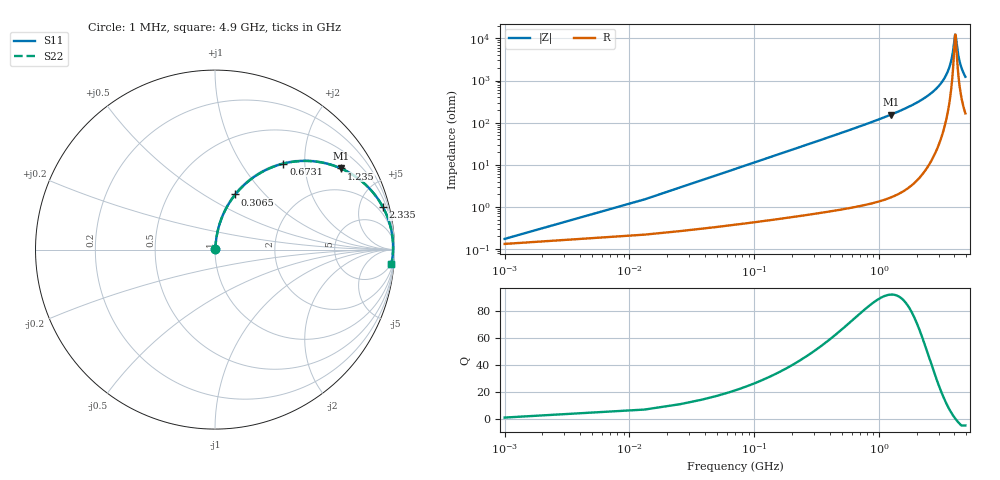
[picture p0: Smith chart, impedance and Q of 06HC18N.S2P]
! Coilcraft 0603HC-18N Chip Inductor
! 03 June 2002
# MHZ S MA R 50
!Freq  MagS11  AngS11  MagS21  AngS21  MagS12  AngS12  MagS22  AngS22
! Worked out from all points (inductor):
!   402 points, 1 MHz to 4.9 GHz, reference 50 ohm
!   read as one part in series: L = 18 nH near 25.44 MHz
!   highest Q = 92.2 at 1.235 GHz (marker M1), where L = 19.8 nH
!   self-resonance near 4.07 GHz
!   S11 on the Smith chart (normalised r, x): 1 MHz: 1.00, +0.00; 306.5 MHz: 1.01, +0.70; 673.1 MHz: 1.02, +1.57; 1.235 GHz: 1.03, +3.08; 2.335 GHz: 1.15, +7.87; 4.9 GHz: 4, -24
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1  0.001737 40.5  0.9987 -0.1  0.9987 -0.1  0.001737 40.5
37.66  0.04254 83.5  0.9961 -2.4  0.9961 -2.4  0.04254 83.5
49.88  0.05624 83.4  0.9951 -3.2  0.9951 -3.2  0.05624 83.4
74.32  0.08355 82.6  0.9927 -4.8  0.9927 -4.8  0.08355 82.6
159.86  0.1774 78.1  0.9791 -10.2  0.9791 -10.2  0.1774 78.1
306.5  0.3272 69.8  0.9385 -19.1  0.9385 -19.1  0.3272 69.8
465.36  0.4676 61.2  0.8767 -27.9  0.8767 -27.9  0.4676 61.2
673.1  0.6125 51.5  0.7825 -37.8  0.7825 -37.8  0.6125 51.5
819.74  0.6908 45.6  0.7148 -43.7  0.7148 -43.7  0.6908 45.6
1235.22  0.8344 32.8  0.5422 -56.5  0.5422 -56.5  0.8344 32.8
1638.48  0.9072 24.2  0.4102 -65.1  0.4102 -65.1  0.9072 24.2
2335.02  0.965 14.2  0.2451 -74.8  0.2451 -74.8  0.965 14.2
2457.22  0.9704 12.8  0.2219 -76.0  0.2219 -76.0  0.9704 12.8
3275.96  0.9896 5.4  0.09426 -81.0  0.09426 -81.0  0.9896 5.4
3728.1  0.9923 2.2  0.03858 -77.3  0.03858 -77.3  0.9923 2.2
3886.96  0.9923 1.1  0.02128 -68.3  0.02128 -68.3  0.9923 1.1
4033.6  0.9921 0.2  0.008846 -26.5  0.008846 -26.5  0.9921 0.2
4094.7  0.9919 -0.1  0.008467 17.0  0.008467 17.0  0.9919 -0.1
4253.56  0.9912 -1.1  0.02074 64.4  0.02074 64.4  0.9912 -1.1
4400.2  0.9904 -1.9  0.03465 72.9  0.03465 72.9  0.9904 -1.9
4620.16  0.9887 -3.1  0.0553 76.6  0.0553 76.6  0.9887 -3.1
4900  0.986 -4.6  0.08045 77.7  0.08045 77.7  0.986 -4.6
